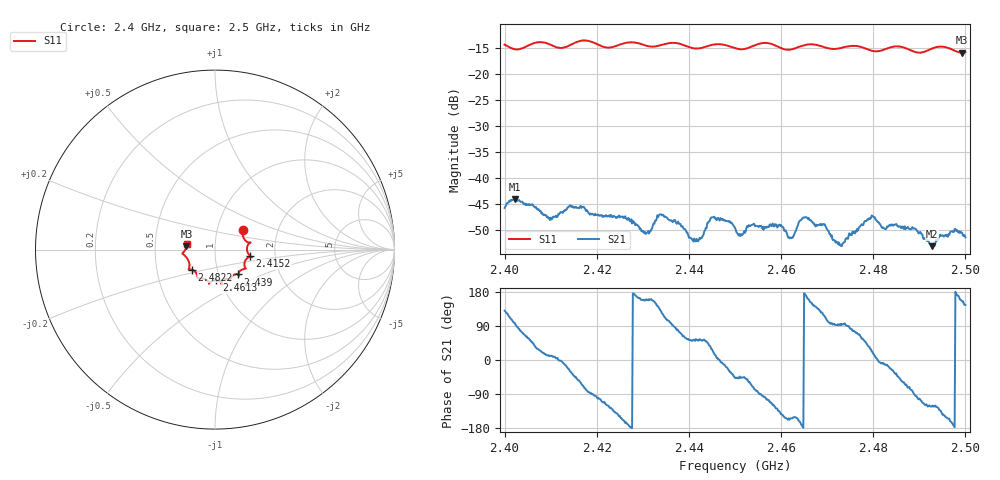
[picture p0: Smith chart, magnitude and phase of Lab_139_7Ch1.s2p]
# Hz S RI R 50
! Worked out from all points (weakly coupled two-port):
!   601 points, 2.4 GHz to 2.5 GHz, reference 50 ohm
!   highest |S21| = -44.05 dB at 2.4023 GHz (marker M1); lowest = -53.1 dB at 2.4927 GHz (marker M2)
!   lowest |S11| = -15.9 dB at 2.4992 GHz (marker M3), VSWR 1.38, Z = 36.3 + j1.38 ohm
!   |S11| at or under -10 dB: start of sweep to end of sweep
!   S12 and S22 are empty: the file has one direction only
!   S11 on the Smith chart (normalised r, x): 2.4 GHz: 1.33, +0.31; 2.4152 GHz: 1.48, -0.11; 2.439 GHz: 1.24, -0.36; 2.4613 GHz: 0.96, -0.34; 2.4822 GHz: 0.76, -0.17; 2.5 GHz: 0.73, +0.05
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2.4e9  0.1556 0.1115  -0.00331 0.00393  0 0  0 0
2.402333e9  0.1563 0.0725  -0.000444 0.00626  0 0  0 0
2.409833e9  0.1891 0.0341  0.00387 0.000702  0 0  0 0
2.415167e9  0.1953 -0.0363  0.00385 -0.00355  0 0  0 0
2.416667e9  0.2049 -0.0423  0.00229 -0.0046  0 0  0 0
2.430833e9  0.1488 -0.1124  -0.00278 0.00101  0 0  0 0
2.433333e9  0.1317 -0.1321  -0.00328 0.00262  0 0  0 0
2.439e9  0.1282 -0.1384  0.00157 0.00282  0 0  0 0
2.4415e9  0.1039 -0.1417  0.0014 0.002  0 0  0 0
2.445167e9  0.0843 -0.1715  0.00381 0.00168  0 0  0 0
2.45e9  0.0687 -0.1633  0.00224 -0.00245  0 0  0 0
2.461333e9  0.00764 -0.1708  -0.00261 -0.00116  0 0  0 0
2.465e9  -0.0321 -0.1861  -0.00413 0.000283  0 0  0 0
2.466667e9  -0.0333 -0.1901  -0.00328 0.00189  0 0  0 0
2.472833e9  -0.0755 -0.1603  -0.000207 0.00228  0 0  0 0
2.479667e9  -0.1046 -0.1307  0.00401 0.00167  0 0  0 0
2.482167e9  -0.1283 -0.112  0.0033 -0.000452  0 0  0 0
2.483333e9  -0.1396 -0.1104  0.00326 -0.001  0 0  0 0
2.488833e9  -0.1426 -0.0815  2.52e-05 -0.00326  0 0  0 0
2.492667e9  -0.1723 -0.0301  -0.00119 -0.00185  0 0  0 0
2.499167e9  -0.1591 0.0186  -0.00274 0.00115  0 0  0 0
2.5e9  -0.1583 0.0337  -0.00221 0.00152  0 0  0 0
